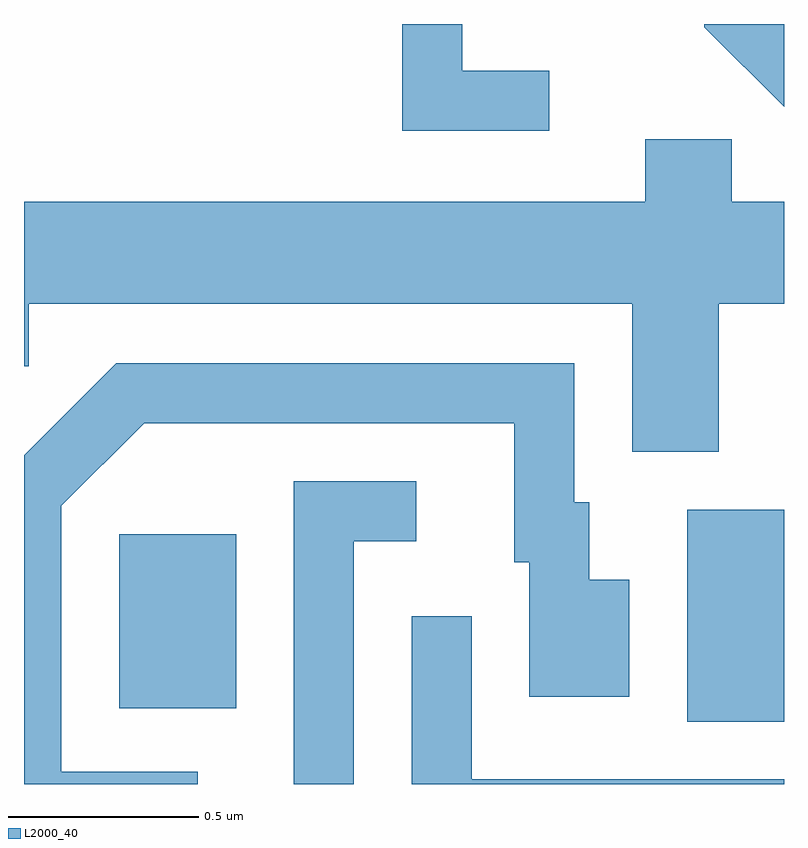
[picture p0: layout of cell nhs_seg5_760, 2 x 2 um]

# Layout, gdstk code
import gdstk
lib = gdstk.Library(unit=1e-6, precision=1e-09)
def R(c, l, rs):  # rectangles x0, y0, x1, y1
    for r in rs: c.add(gdstk.rectangle(r[:2], r[2:], *l))
def P(c, l, *ps):  # polygons
    for p in ps: c.add(gdstk.Polygon(p, *l))
L2000_40 = (2000, 40)

nhs_seg5_760 = lib.new_cell('nhs_seg5_760')
R(nhs_seg5_760, L2000_40, [(192.356,1471.236,192.611,1471.794), (190.861,1471.271,191.169,1471.729)])
P(nhs_seg5_760, L2000_40, [(191.993,1472.949),(191.764,1472.949),(191.764,1473.072),(191.606,1473.072),(191.606,1472.791),(191.993,1472.791)],
  [(192.611,1473.072),(192.401,1473.072),(192.401,1473.064),(192.611,1472.854)],
  [(192.439,1472.336),(192.611,1472.336),(192.611,1472.604),(192.474,1472.604),(192.474,1472.769),(192.246,1472.769),(192.246,1472.604),(190.611,1472.604),(190.611,1472.171),(190.624,1472.171),(190.624,1472.336),(192.211,1472.336),(192.211,1471.946),(192.439,1471.946)],
  [(191.068,1471.104),(190.709,1471.104),(190.709,1471.804),(190.927,1472.021),(191.901,1472.021),(191.901,1471.656),(191.941,1471.656),(191.941,1471.301),(192.204,1471.301),(192.204,1471.609),(192.099,1471.609),(192.099,1471.814),(192.059,1471.814),(192.059,1472.179),(190.854,1472.179),(190.611,1471.937),(190.611,1471.072),(191.068,1471.072)],
  [(191.479,1471.711),(191.643,1471.711),(191.643,1471.869),(191.321,1471.869),(191.321,1471.072),(191.479,1471.072)],
  [(192.611,1471.084),(191.789,1471.084),(191.789,1471.513),(191.631,1471.513),(191.631,1471.072),(192.611,1471.072)])

lib.write_gds('nhs_seg5_760.gds')
